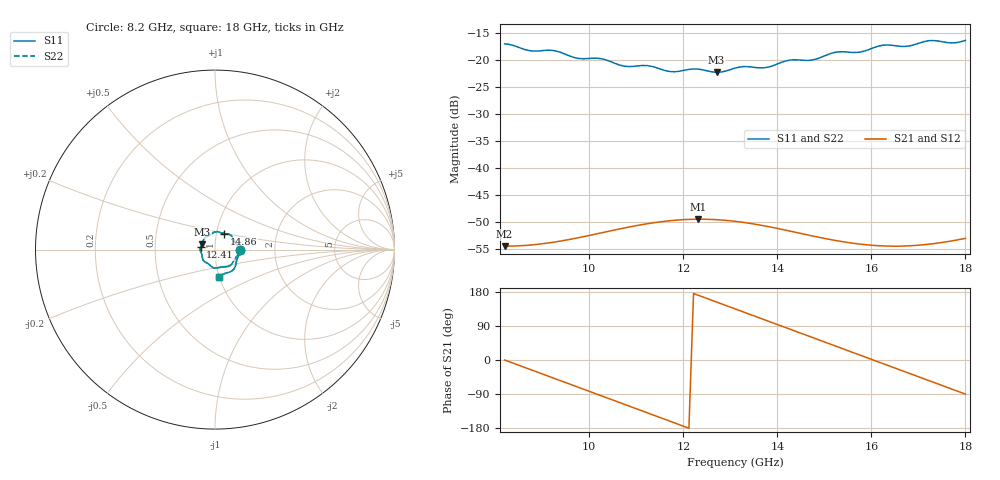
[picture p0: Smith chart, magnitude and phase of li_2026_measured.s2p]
! Benchmark Measurement Data: Li et al. (2026) [Nano-Micro Lett.]
! Total Thickness d = 2.2 mm, FBW = 66.5%, Rozanov Ratio = 0.72
# Hz S RI R 50
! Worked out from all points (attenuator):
!   101 points, 8.2 GHz to 18 GHz, reference 50 ohm
!   highest |S21| = -49.50 dB at 12.32 GHz (marker M1); lowest = -54.5 dB at 8.2 GHz (marker M2)
!   lowest |S11| = -22.3 dB at 12.71 GHz (marker M3), VSWR 1.17, Z = 43.3 + j2.61 ohm
!   |S11| at or under -10 dB: start of sweep to end of sweep
!   |S22| runs from -22.3 to -16.4 dB; largest |S21 - S12| = 0
!   S11 on the Smith chart (normalised r, x): 8.2 GHz: 1.33, +0.00; 12.41 GHz: 0.85, +0.02; 14.86 GHz: 1.09, +0.20; 18 GHz: 1.00, -0.31
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8.2e9  0.1412 0  0.00188 0  0.00188 0  0.1412 0
8.788e9  0.1085 -0.054  0.00173 -0.000879  0.00173 -0.000879  0.1085 -0.054
9.18e9  0.0885 -0.0858  0.00144 -0.00144  0.00144 -0.00144  0.0885 -0.0858
9.866e9  0.0266 -0.0992  0.000537 -0.00224  0.000537 -0.00224  0.0266 -0.0992
1.0258e10  -0.00469 -0.1028  -0.000196 -0.00249  -0.000196 -0.00249  -0.00469 -0.1028
1.0748e10  -0.0366 -0.0796  -0.00126 -0.00248  -0.00126 -0.00248  -0.0366 -0.0796
1.1238e10  -0.0646 -0.0608  -0.00231 -0.00198  -0.00231 -0.00198  -0.0646 -0.0608
1.1532e10  -0.0709 -0.041  -0.00283 -0.00144  -0.00283 -0.00144  -0.0709 -0.041
1.2316e10  -0.0821 0.0075  -0.00331 0.000524  -0.00331 0.000524  -0.0821 0.0075
1.2414e10  -0.08 0.0136  -0.00326 0.000782  -0.00326 0.000782  -0.08 0.0136
1.2708e10  -0.0709 0.0299  -0.00295 0.0015  -0.00295 0.0015  -0.0709 0.0299
1.31e10  -0.0639 0.0546  -0.00226 0.00226  -0.00226 0.00226  -0.0639 0.0546
1.3688e10  -0.0331 0.0778  -0.000904 0.00278  -0.000904 0.00278  -0.0331 0.0778
1.4276e10  0.00597 0.0998  0.000406 0.00256  0.000406 0.00256  0.00597 0.0998
1.4766e10  0.0432 0.0907  0.00122 0.00199  0.00122 0.00199  0.0432 0.0907
1.4864e10  0.0514 0.0895  0.00134 0.00185  0.00134 0.00185  0.0514 0.0895
1.5256e10  0.0874 0.08  0.00172 0.00125  0.00172 0.00125  0.0874 0.08
1.5746e10  0.1108 0.0413  0.00192 0.00046  0.00192 0.00046  0.1108 0.0413
1.6432e10  0.1348 -0.0248  0.00179 -0.000582  0.00179 -0.000582  0.1348 -0.0248
1.6726e10  0.1224 -0.0537  0.00161 -0.000988  0.00161 -0.000988  0.1224 -0.0537
1.7216e10  0.1054 -0.1081  0.00115 -0.00159  0.00115 -0.00159  0.1054 -0.1081
1.8e10  0.0238 -0.15  6.81e-19 -0.00222  6.81e-19 -0.00222  0.0238 -0.15
